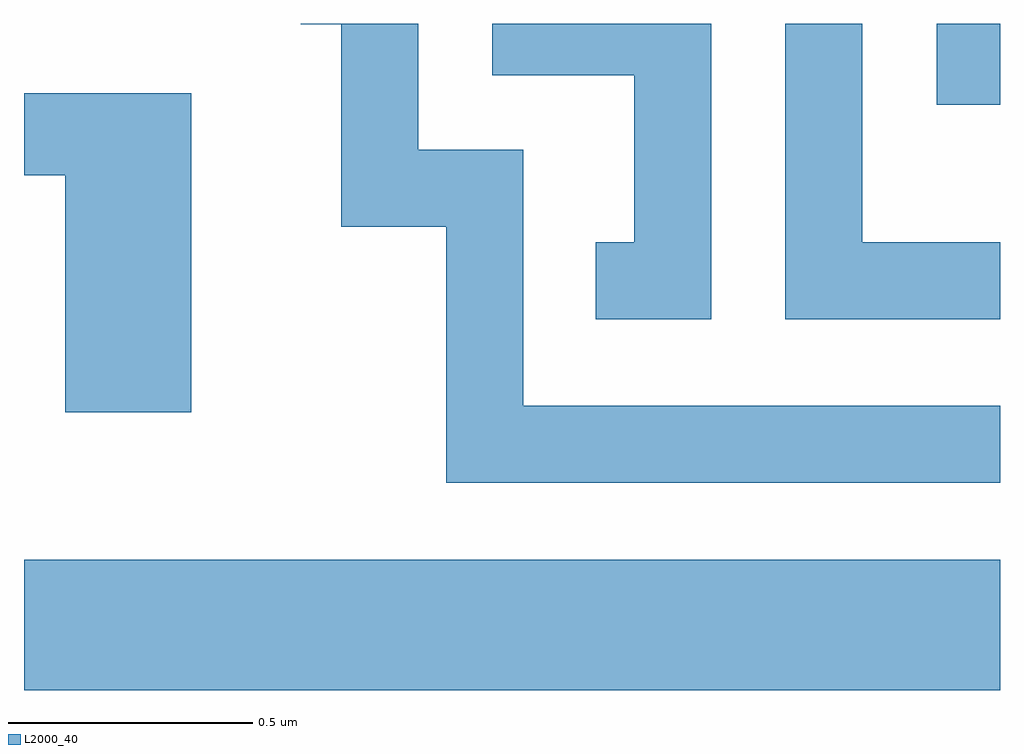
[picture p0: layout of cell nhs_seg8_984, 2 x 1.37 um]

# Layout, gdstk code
import gdstk
lib = gdstk.Library(unit=1e-6, precision=1e-09)
def R(c, l, rs):  # rectangles x0, y0, x1, y1
    for r in rs: c.add(gdstk.rectangle(r[:2], r[2:], *l))
def P(c, l, *ps):  # polygons
    for p in ps: c.add(gdstk.Polygon(p, *l))
L2000_40 = (2000, 40)

nhs_seg8_984 = lib.new_cell('nhs_seg8_984')
R(nhs_seg8_984, L2000_40, [(192.611,1831.976,194.611,1832.244), (194.481,1833.176,194.611,1833.342)])
P(nhs_seg8_984, L2000_40, [(194.611,1832.559),(193.634,1832.559),(193.634,1833.084),(193.419,1833.084),(193.419,1833.342),(193.178,1833.342),(193.178,1833.341),(193.261,1833.341),(193.261,1832.926),(193.476,1832.926),(193.476,1832.401),(194.611,1832.401)],
  [(194.019,1833.342),(193.571,1833.342),(193.571,1833.236),(193.861,1833.236),(193.861,1832.894),(193.783,1832.894),(193.783,1832.736),(194.019,1832.736)],
  [(194.611,1832.894),(194.329,1832.894),(194.329,1833.342),(194.171,1833.342),(194.171,1832.736),(194.611,1832.736)],
  [(192.954,1833.199),(192.611,1833.199),(192.611,1833.031),(192.696,1833.031),(192.696,1832.546),(192.954,1832.546)])

lib.write_gds('nhs_seg8_984.gds')
